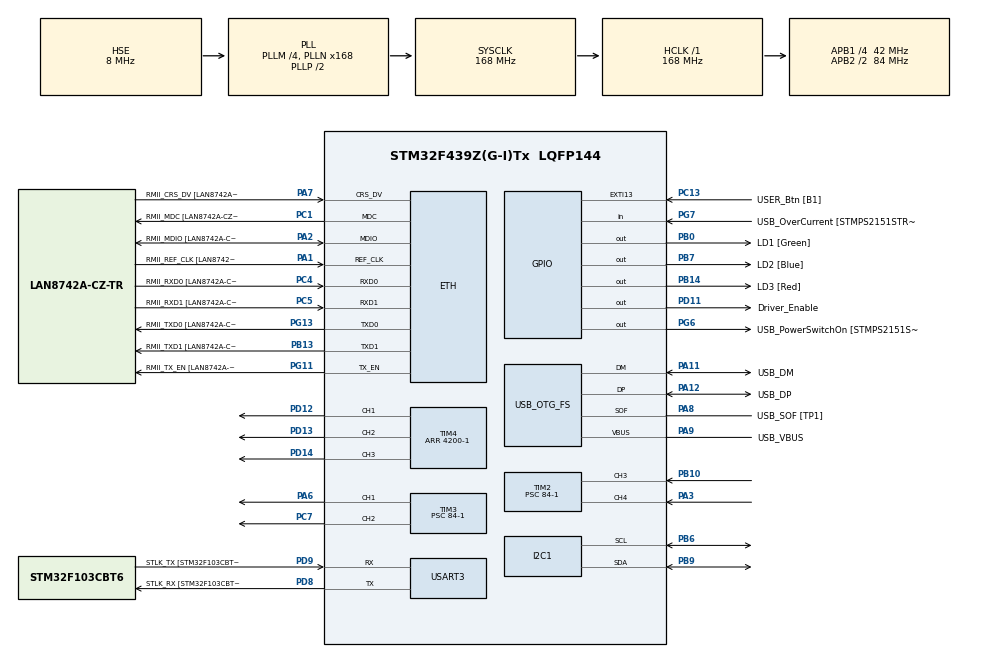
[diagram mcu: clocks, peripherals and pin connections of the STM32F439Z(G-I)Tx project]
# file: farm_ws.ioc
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ETH.MediaInterface=HAL_ETH_RMII_MODE
ETH.PHY_Name=LAN8742A_PHY_ADDRESS
ETH.PHY_Value=0
ETH.PhyAddress=0
Mcu.Family=STM32F4
Mcu.Name=STM32F439Z(G-I)Tx
Mcu.Package=LQFP144
NVIC.PriorityGroup=NVIC_PRIORITYGROUP_4
NVIC.USART3_IRQn=true\:0\:0\:false\:false\:true\:true\:true\:true
PA1.GPIO_Label=RMII_REF_CLK [LAN8742A-CZ-TR_REFCLK0]
PA1.Mode=RMII
PA1.Signal=ETH_REF_CLK
PA10.GPIO_Label=USB_ID
PA10.Signal=USB_OTG_FS_ID
PA11.GPIO_Label=USB_DM
PA11.Mode=Device_Only
PA11.Signal=USB_OTG_FS_DM
PA12.GPIO_Label=USB_DP
PA12.Mode=Device_Only
PA12.Signal=USB_OTG_FS_DP
PA13.Mode=Serial_Wire
PA13.Signal=SYS_JTMS-SWDIO
PA14.Mode=Serial_Wire
PA14.Signal=SYS_JTCK-SWCLK
PA2.GPIO_Label=RMII_MDIO [LAN8742A-CZ-TR_MDIO]
PA2.Mode=RMII
PA2.Signal=ETH_MDIO
PA3.Signal=S_TIM2_CH4
PA6.Signal=S_TIM3_CH1
PA7.GPIO_Label=RMII_CRS_DV [LAN8742A-CZ-TR_CRS_DV]
PA7.Mode=RMII
PA7.Signal=ETH_CRS_DV
PA8.GPIO_Label=USB_SOF [TP1]
PA8.Mode=Activate_SOF_FS
PA8.Signal=USB_OTG_FS_SOF
PA9.GPIO_Label=USB_VBUS
PA9.Mode=Activate_VBUS
PA9.Signal=USB_OTG_FS_VBUS
PB0.GPIO_Label=LD1 [Green]
PB0.Signal=GPIO_Output
PB10.Signal=S_TIM2_CH3
PB13.GPIO_Label=RMII_TXD1 [LAN8742A-CZ-TR_TXD1]
PB13.Mode=RMII
PB13.Signal=ETH_TXD1
PB14.GPIO_Label=LD3 [Red]
PB14.Signal=GPIO_Output
PB6.Mode=I2C
PB6.Signal=I2C1_SCL
PB7.GPIO_Label=LD2 [Blue]
PB7.Signal=GPIO_Output
PB9.Mode=I2C
PB9.Signal=I2C1_SDA
PC1.GPIO_Label=RMII_MDC [LAN8742A-CZ-TR_MDC]
PC1.Mode=RMII
PC1.Signal=ETH_MDC
PC13.GPIO_Label=USER_Btn [B1]
PC13.Signal=GPXTI13
PC14/OSC32_IN.Mode=LSE-External-Oscillator
PC14/OSC32_IN.Signal=RCC_OSC32_IN
PC15/OSC32_OUT.Mode=LSE-External-Oscillator
PC15/OSC32_OUT.Signal=RCC_OSC32_OUT
PC4.GPIO_Label=RMII_RXD0 [LAN8742A-CZ-TR_RXD0]
PC4.Mode=RMII
PC4.Signal=ETH_RXD0
PC5.GPIO_Label=RMII_RXD1 [LAN8742A-CZ-TR_RXD1]
PC5.Mode=RMII
PC5.Signal=ETH_RXD1
PC7.Signal=S_TIM3_CH2
PD11.GPIO_Label=Driver_Enable
PD11.Signal=GPIO_Output
PD12.Signal=S_TIM4_CH1
PD13.Signal=S_TIM4_CH2
PD14.Signal=S_TIM4_CH3
PD8.GPIO_Label=STLK_RX [STM32F103CBT6_PA3]
PD8.Mode=Asynchronous
PD8.Signal=USART3_TX
PD9.GPIO_Label=STLK_TX [STM32F103CBT6_PA2]
PD9.Mode=Asynchronous
PD9.Signal=USART3_RX
PG11.GPIO_Label=RMII_TX_EN [LAN8742A-CZ-TR_TXEN]
PG11.Mode=RMII
PG11.Signal=ETH_TX_EN
PG13.GPIO_Label=RMII_TXD0 [LAN8742A-CZ-TR_TXD0]
PG13.Mode=RMII
PG13.Signal=ETH_TXD0
PG6.GPIO_Label=USB_PowerSwitchOn [STMPS2151STR_EN]
PG6.Signal=GPIO_Output
PG7.GPIO_Label=USB_OverCurrent [STMPS2151STR_FAULT]
PG7.Signal=GPIO_Input
PH0/OSC_IN.GPIO_Label=MCO [STM32F103CBT6_PA8]
PH0/OSC_IN.Mode=HSE-External-Clock-Source
PH0/OSC_IN.Signal=RCC_OSC_IN
PH1/OSC_OUT.Mode=HSE-External-Clock-Source
PH1/OSC_OUT.Signal=RCC_OSC_OUT
ProjectManager.HeapSize=0x200
ProjectManager.StackSize=0x400
ProjectManager.TargetToolchain=STM32CubeIDE
RCC.48MHZClocksFreq_Value=48000000
RCC.AHBFreq_Value=168000000
RCC.APB1CLKDivider=RCC_HCLK_DIV4
RCC.APB1Freq_Value=42000000
RCC.APB1TimFreq_Value=84000000
RCC.APB2CLKDivider=RCC_HCLK_DIV2
RCC.APB2Freq_Value=84000000
RCC.APB2TimCLKDivider=2
RCC.APB2TimFreq_Value=168000000
RCC.CortexFreq_Value=168000000
RCC.HCLKFreq_Value=168000000
RCC.HSE_VALUE=8000000
RCC.HSI_VALUE=16000000
RCC.PLLM=4
RCC.PLLMUL=RCC_PLL_MUL9
RCC.PLLN=168
RCC.PLLQ=7
RCC.PRESCALERUSB=RCC_USBCLKSOURCE_PLL_DIV1_5
RCC.SYSCLKFreq_VALUE=168000000
RCC.SYSCLKSource=RCC_SYSCLKSOURCE_PLLCLK
RCC.SYSCLKSourceVirtual=RCC_SYSCLKSOURCE_PLLCLK
RCC.USBFreq_Value=48000000
RCC.VCOOutputFreq_Value=336000000
SH.S_TIM2_CH3.0=TIM2_CH3,Input_Capture3_from_TI3
SH.S_TIM2_CH4.0=TIM2_CH4,Input_Capture4_from_TI4
SH.S_TIM3_CH1.0=TIM3_CH1,PWM Generation1 CH1
SH.S_TIM3_CH2.0=TIM3_CH2,PWM Generation2 CH2
SH.S_TIM4_CH1.0=TIM4_CH1,PWM Generation1 CH1
SH.S_TIM4_CH2.0=TIM4_CH2,PWM Generation2 CH2
SH.S_TIM4_CH3.0=TIM4_CH3,PWM Generation3 CH3
TIM2.Channel-Input_Capture3_from_TI3=TIM_CHANNEL_3
TIM2.Channel-Input_Capture4_from_TI4=TIM_CHANNEL_4
TIM2.Prescaler=84-1
TIM3.Channel-PWM\ Generation1\ CH1=TIM_CHANNEL_1
TIM3.Channel-PWM\ Generation2\ CH2=TIM_CHANNEL_2
TIM3.OCMode_PWM-PWM\ Generation1\ CH1=TIM_OCMODE_PWM2
TIM3.OCMode_PWM-PWM\ Generation2\ CH2=TIM_OCMODE_PWM2
TIM3.Period=20000-1
TIM3.Prescaler=84-1
TIM3.Pulse-PWM\ Generation1\ CH1=1500
TIM3.Pulse-PWM\ Generation2\ CH2=1500
TIM4.Channel-PWM\ Generation1\ CH1=TIM_CHANNEL_1
TIM4.Channel-PWM\ Generation2\ CH2=TIM_CHANNEL_2
TIM4.Channel-PWM\ Generation3\ CH3=TIM_CHANNEL_3
TIM4.Period=4200-1
USART3.VirtualMode=VM_ASYNC
USB_OTG_FS.VirtualMode=Device_Only
VP_TIM2_VS_ClockSourceINT.Mode=Internal
VP_TIM3_VS_ClockSourceINT.Mode=Internal
VP_TIM4_VS_ClockSourceINT.Mode=Internal
board=NUCLEO-F439ZI

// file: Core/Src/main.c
/* USER CODE BEGIN Header */
// *****************************************************************************
// @file           : main.c
// @brief          : Main program body
// *****************************************************************************
// @attention
//
// Copyright (c) 2026 STMicroelectronics.
// All rights reserved.
//
// This software is licensed under terms that can be found in the LICENSE file
// in the root directory of this software component.
// If no LICENSE file comes with this software, it is provided AS-IS.
//
// *****************************************************************************
/* USER CODE END Header */
#include "main.h"
#include "string.h"
#include <stdio.h>

/* USER CODE BEGIN Includes */
#include "track.h"
#include "uart/uart_receiver.h"
#include "uart/uart_sender.h"
#if GIMBAL_ENABLED
#include "camera_motor/gimbal_track.h"
#endif

/* USER CODE END Includes */

ETH_TxPacketConfig TxConfig;
ETH_DMADescTypeDef  DMARxDscrTab[ETH_RX_DESC_CNT]; /* Ethernet Rx DMA Descriptors */
ETH_DMADescTypeDef  DMATxDscrTab[ETH_TX_DESC_CNT]; /* Ethernet Tx DMA Descriptors */

ETH_HandleTypeDef heth;

I2C_HandleTypeDef hi2c1;

TIM_HandleTypeDef htim2;
TIM_HandleTypeDef htim3;
TIM_HandleTypeDef htim4;

UART_HandleTypeDef huart3;

PCD_HandleTypeDef hpcd_USB_OTG_FS;

void SystemClock_Config(void);
static void MX_GPIO_Init(void);
static void MX_ETH_Init(void);
static void MX_USART3_UART_Init(void);
static void MX_USB_OTG_FS_PCD_Init(void);
static void MX_I2C1_Init(void);
static void MX_TIM2_Init(void);
static void MX_TIM3_Init(void);
static void MX_TIM4_Init(void);

int main(void)
{

  /* MCU Configuration--------------------------------------------------------*/

  /* Reset of all peripherals, Initializes the Flash interface and the Systick. */
  HAL_Init();

  /* Configure the system clock */
  SystemClock_Config();

  /* Initialize all configured peripherals */
  MX_GPIO_Init();
  MX_ETH_Init();
  MX_USART3_UART_Init();
  MX_USB_OTG_FS_PCD_Init();
  MX_I2C1_Init();
  MX_TIM2_Init();
  MX_TIM3_Init();
  MX_TIM4_Init();
  /* USER CODE BEGIN 2 */
  UART_Sender_Init(&huart3);
  Track_Init();
  // 先開啟 UART 接收中斷，對齊期間收到的資料可進入接收緩衝區。
  if (UART_Receiver_Start(&huart3) != HAL_OK)
  {
#if GIMBAL_ENABLED
    GimbalTrack_Stop();
#endif
    Error_Handler();
  }
#if GIMBAL_ENABLED
  GimbalTrack_Init(&hi2c1, &htim4);
  char gimbal_status[96];
  snprintf(gimbal_status, sizeof(gimbal_status),
           "{\"gimbal_status\":\"%s\"}\r\n",
           GimbalTrack_GetStatus());
  UART_Sender_Send(gimbal_status);
#endif
  uint32_t last_track_ms = HAL_GetTick();

  /* USER CODE END 2 */

  /* Infinite loop */
  while (1)
  {

    /* USER CODE BEGIN 3 */
    UART_Receiver_Process();

    RobotCommand command;
    if (UART_Receiver_TakeCommand(&command))
    {
      if (command.type == COMMAND_PERSON_POSITION)
      {
        Track_SetPosition(command.person.x, command.person.y, command.person.z);
#if GIMBAL_ENABLED
        // 只在收到新人物座標時更新追蹤目標，避免舊座標覆蓋手動指令。
        GimbalTrack_SetPerson(Track_GetPosition());
#endif
      }
#if GIMBAL_ENABLED
      else if (command.type == COMMAND_GIMBAL_RELATIVE ||
               command.type == COMMAND_GIMBAL_ZERO ||
               command.type == COMMAND_GIMBAL_YAW_QUERY)
      {
        // 雲台純文字指令交給雲台模組處理，不更新車體目標。
        GimbalTrack_HandleCommand(&command);
      }
#endif
      else
      {
        Track_Clear();
#if GIMBAL_ENABLED
        if (command.type == COMMAND_STOP)
        {
          GimbalTrack_Stop();
        }
#endif
      }
    }

    uint32_t now = HAL_GetTick();
    uint32_t elapsed = now - last_track_ms;
    if (elapsed >= 20U)
    {
      last_track_ms = now;
      Track_Update(elapsed / 1000.0f);

#if GIMBAL_ENABLED
      TrackPosition person = Track_GetPosition();
      if (!person.valid)
        GimbalTrack_SetPerson(person);
#endif

      TrackCommand velocity = Track_GetCommand();
      char reply[160];
      if (Protocol_EncodeCmdVel(reply, sizeof(reply), velocity.linear_vel,
                                velocity.angular_vel) > 0)
      {
        UART_Sender_Send(reply);
      }
    }

#if GIMBAL_ENABLED
    GimbalTrack_Update();
#endif
  }
  /* USER CODE END 3 */
}

void SystemClock_Config(void)
{
  RCC_OscInitTypeDef RCC_OscInitStruct = {0};
  RCC_ClkInitTypeDef RCC_ClkInitStruct = {0};

  /** Configure the main internal regulator output voltage
  */
  __HAL_RCC_PWR_CLK_ENABLE();
  __HAL_PWR_VOLTAGESCALING_CONFIG(PWR_REGULATOR_VOLTAGE_SCALE1);

  /** Initializes the RCC Oscillators according to the specified parameters
  * in the RCC_OscInitTypeDef structure.
  */
  RCC_OscInitStruct.OscillatorType = RCC_OSCILLATORTYPE_HSE;
  RCC_OscInitStruct.HSEState = RCC_HSE_BYPASS;
  RCC_OscInitStruct.PLL.PLLState = RCC_PLL_ON;
  RCC_OscInitStruct.PLL.PLLSource = RCC_PLLSOURCE_HSE;
  RCC_OscInitStruct.PLL.PLLM = 4;
  RCC_OscInitStruct.PLL.PLLN = 168;
  RCC_OscInitStruct.PLL.PLLP = RCC_PLLP_DIV2;
  RCC_OscInitStruct.PLL.PLLQ = 7;
  if (HAL_RCC_OscConfig(&RCC_OscInitStruct) != HAL_OK)
  {
    Error_Handler();
  }

  /** Initializes the CPU, AHB and APB buses clocks
  */
  RCC_ClkInitStruct.ClockType = RCC_CLOCKTYPE_HCLK|RCC_CLOCKTYPE_SYSCLK
                              |RCC_CLOCKTYPE_PCLK1|RCC_CLOCKTYPE_PCLK2;
  RCC_ClkInitStruct.SYSCLKSource = RCC_SYSCLKSOURCE_PLLCLK;
  RCC_ClkInitStruct.AHBCLKDivider = RCC_SYSCLK_DIV1;
  RCC_ClkInitStruct.APB1CLKDivider = RCC_HCLK_DIV4;
  RCC_ClkInitStruct.APB2CLKDivider = RCC_HCLK_DIV2;

  if (HAL_RCC_ClockConfig(&RCC_ClkInitStruct, FLASH_LATENCY_5) != HAL_OK)
  {
    Error_Handler();
  }
}

static void MX_ETH_Init(void)
{

   static uint8_t MACAddr[6];

  heth.Instance = ETH;
  MACAddr[0] = 0x00;
  MACAddr[1] = 0x80;
  MACAddr[2] = 0xE1;
  MACAddr[3] = 0x00;
  MACAddr[4] = 0x00;
  MACAddr[5] = 0x00;
  heth.Init.MACAddr = &MACAddr[0];
  heth.Init.MediaInterface = HAL_ETH_RMII_MODE;
  heth.Init.TxDesc = DMATxDscrTab;
  heth.Init.RxDesc = DMARxDscrTab;
  heth.Init.RxBuffLen = 1524;

  if (HAL_ETH_Init(&heth) != HAL_OK)
  {
    Error_Handler();
  }

  memset(&TxConfig, 0 , sizeof(ETH_TxPacketConfig));
  TxConfig.Attributes = ETH_TX_PACKETS_FEATURES_CSUM | ETH_TX_PACKETS_FEATURES_CRCPAD;
  TxConfig.ChecksumCtrl = ETH_CHECKSUM_IPHDR_PAYLOAD_INSERT_PHDR_CALC;
  TxConfig.CRCPadCtrl = ETH_CRC_PAD_INSERT;

}

static void MX_I2C1_Init(void)
{

  hi2c1.Instance = I2C1;
  hi2c1.Init.ClockSpeed = 100000;
  hi2c1.Init.DutyCycle = I2C_DUTYCYCLE_2;
  hi2c1.Init.OwnAddress1 = 0;
  hi2c1.Init.AddressingMode = I2C_ADDRESSINGMODE_7BIT;
  hi2c1.Init.DualAddressMode = I2C_DUALADDRESS_DISABLE;
  hi2c1.Init.OwnAddress2 = 0;
  hi2c1.Init.GeneralCallMode = I2C_GENERALCALL_DISABLE;
  hi2c1.Init.NoStretchMode = I2C_NOSTRETCH_DISABLE;
  if (HAL_I2C_Init(&hi2c1) != HAL_OK)
  {
    Error_Handler();
  }

  /** Configure Analogue filter
  */
  if (HAL_I2CEx_ConfigAnalogFilter(&hi2c1, I2C_ANALOGFILTER_ENABLE) != HAL_OK)
  {
    Error_Handler();
  }

  /** Configure Digital filter
  */
  if (HAL_I2CEx_ConfigDigitalFilter(&hi2c1, 0) != HAL_OK)
  {
    Error_Handler();
  }

}

static void MX_TIM2_Init(void)
{

  TIM_ClockConfigTypeDef sClockSourceConfig = {0};
  TIM_MasterConfigTypeDef sMasterConfig = {0};
  TIM_IC_InitTypeDef sConfigIC = {0};

  htim2.Instance = TIM2;
  htim2.Init.Prescaler = 84-1;
  htim2.Init.CounterMode = TIM_COUNTERMODE_UP;
  htim2.Init.Period = 4294967295;
  htim2.Init.ClockDivision = TIM_CLOCKDIVISION_DIV1;
  htim2.Init.AutoReloadPreload = TIM_AUTORELOAD_PRELOAD_DISABLE;
  if (HAL_TIM_Base_Init(&htim2) != HAL_OK)
  {
    Error_Handler();
  }
  sClockSourceConfig.ClockSource = TIM_CLOCKSOURCE_INTERNAL;
  if (HAL_TIM_ConfigClockSource(&htim2, &sClockSourceConfig) != HAL_OK)
  {
    Error_Handler();
  }
  if (HAL_TIM_IC_Init(&htim2) != HAL_OK)
  {
    Error_Handler();
  }
  sMasterConfig.MasterOutputTrigger = TIM_TRGO_RESET;
  sMasterConfig.MasterSlaveMode = TIM_MASTERSLAVEMODE_DISABLE;
  if (HAL_TIMEx_MasterConfigSynchronization(&htim2, &sMasterConfig) != HAL_OK)
  {
    Error_Handler();
  }
  sConfigIC.ICPolarity = TIM_INPUTCHANNELPOLARITY_RISING;
  sConfigIC.ICSelection = TIM_ICSELECTION_DIRECTTI;
  sConfigIC.ICPrescaler = TIM_ICPSC_DIV1;
  sConfigIC.ICFilter = 0;
  if (HAL_TIM_IC_ConfigChannel(&htim2, &sConfigIC, TIM_CHANNEL_3) != HAL_OK)
  {
    Error_Handler();
  }
  if (HAL_TIM_IC_ConfigChannel(&htim2, &sConfigIC, TIM_CHANNEL_4) != HAL_OK)
  {
    Error_Handler();
  }

}

static void MX_TIM3_Init(void)
{

  TIM_ClockConfigTypeDef sClockSourceConfig = {0};
  TIM_MasterConfigTypeDef sMasterConfig = {0};
  TIM_OC_InitTypeDef sConfigOC = {0};

  htim3.Instance = TIM3;
  htim3.Init.Prescaler = 84-1;
  htim3.Init.CounterMode = TIM_COUNTERMODE_UP;
  htim3.Init.Period = 20000-1;
  htim3.Init.ClockDivision = TIM_CLOCKDIVISION_DIV1;
  htim3.Init.AutoReloadPreload = TIM_AUTORELOAD_PRELOAD_DISABLE;
  if (HAL_TIM_Base_Init(&htim3) != HAL_OK)
  {
    Error_Handler();
  }
  sClockSourceConfig.ClockSource = TIM_CLOCKSOURCE_INTERNAL;
  if (HAL_TIM_ConfigClockSource(&htim3, &sClockSourceConfig) != HAL_OK)
  {
    Error_Handler();
  }
  if (HAL_TIM_PWM_Init(&htim3) != HAL_OK)
  {
    Error_Handler();
  }
  sMasterConfig.MasterOutputTrigger = TIM_TRGO_RESET;
  sMasterConfig.MasterSlaveMode = TIM_MASTERSLAVEMODE_DISABLE;
  if (HAL_TIMEx_MasterConfigSynchronization(&htim3, &sMasterConfig) != HAL_OK)
  {
    Error_Handler();
  }
  sConfigOC.OCMode = TIM_OCMODE_PWM2;
  sConfigOC.Pulse = 1500;
  sConfigOC.OCPolarity = TIM_OCPOLARITY_HIGH;
  sConfigOC.OCFastMode = TIM_OCFAST_DISABLE;
  if (HAL_TIM_PWM_ConfigChannel(&htim3, &sConfigOC, TIM_CHANNEL_1) != HAL_OK)
  {
    Error_Handler();
  }
  if (HAL_TIM_PWM_ConfigChannel(&htim3, &sConfigOC, TIM_CHANNEL_2) != HAL_OK)
  {
    Error_Handler();
  }
  HAL_TIM_MspPostInit(&htim3);

}

static void MX_TIM4_Init(void)
{

  TIM_ClockConfigTypeDef sClockSourceConfig = {0};
  TIM_MasterConfigTypeDef sMasterConfig = {0};
  TIM_OC_InitTypeDef sConfigOC = {0};

  htim4.Instance = TIM4;
  htim4.Init.Prescaler = 0;
  htim4.Init.CounterMode = TIM_COUNTERMODE_UP;
  htim4.Init.Period = 4200-1;
  htim4.Init.ClockDivision = TIM_CLOCKDIVISION_DIV1;
  htim4.Init.AutoReloadPreload = TIM_AUTORELOAD_PRELOAD_DISABLE;
  if (HAL_TIM_Base_Init(&htim4) != HAL_OK)
  {
    Error_Handler();
  }
  sClockSourceConfig.ClockSource = TIM_CLOCKSOURCE_INTERNAL;
  if (HAL_TIM_ConfigClockSource(&htim4, &sClockSourceConfig) != HAL_OK)
  {
    Error_Handler();
  }
  if (HAL_TIM_PWM_Init(&htim4) != HAL_OK)
  {
    Error_Handler();
  }
  sMasterConfig.MasterOutputTrigger = TIM_TRGO_RESET;
  sMasterConfig.MasterSlaveMode = TIM_MASTERSLAVEMODE_DISABLE;
  if (HAL_TIMEx_MasterConfigSynchronization(&htim4, &sMasterConfig) != HAL_OK)
  {
    Error_Handler();
  }
  sConfigOC.OCMode = TIM_OCMODE_PWM1;
  sConfigOC.Pulse = 0;
  sConfigOC.OCPolarity = TIM_OCPOLARITY_HIGH;
  sConfigOC.OCFastMode = TIM_OCFAST_DISABLE;
  if (HAL_TIM_PWM_ConfigChannel(&htim4, &sConfigOC, TIM_CHANNEL_1) != HAL_OK)
  {
    Error_Handler();
  }
  if (HAL_TIM_PWM_ConfigChannel(&htim4, &sConfigOC, TIM_CHANNEL_2) != HAL_OK)
  {
    Error_Handler();
  }
  if (HAL_TIM_PWM_ConfigChannel(&htim4, &sConfigOC, TIM_CHANNEL_3) != HAL_OK)
  {
    Error_Handler();
  }
  HAL_TIM_MspPostInit(&htim4);

}

static void MX_USART3_UART_Init(void)
{

  huart3.Instance = USART3;
  huart3.Init.BaudRate = 115200;
  huart3.Init.WordLength = UART_WORDLENGTH_8B;
  huart3.Init.StopBits = UART_STOPBITS_1;
  huart3.Init.Parity = UART_PARITY_NONE;
  huart3.Init.Mode = UART_MODE_TX_RX;
  huart3.Init.HwFlowCtl = UART_HWCONTROL_NONE;
  huart3.Init.OverSampling = UART_OVERSAMPLING_16;
  if (HAL_UART_Init(&huart3) != HAL_OK)
  {
    Error_Handler();
  }

}

static void MX_USB_OTG_FS_PCD_Init(void)
{

  hpcd_USB_OTG_FS.Instance = USB_OTG_FS;
  hpcd_USB_OTG_FS.Init.dev_endpoints = 4;
  hpcd_USB_OTG_FS.Init.speed = PCD_SPEED_FULL;
  hpcd_USB_OTG_FS.Init.dma_enable = DISABLE;
  hpcd_USB_OTG_FS.Init.phy_itface = PCD_PHY_EMBEDDED;
  hpcd_USB_OTG_FS.Init.Sof_enable = ENABLE;
  hpcd_USB_OTG_FS.Init.low_power_enable = DISABLE;
  hpcd_USB_OTG_FS.Init.lpm_enable = DISABLE;
  hpcd_USB_OTG_FS.Init.vbus_sensing_enable = ENABLE;
  hpcd_USB_OTG_FS.Init.use_dedicated_ep1 = DISABLE;
  if (HAL_PCD_Init(&hpcd_USB_OTG_FS) != HAL_OK)
  {
    Error_Handler();
  }

}

static void MX_GPIO_Init(void)
{
  GPIO_InitTypeDef GPIO_InitStruct = {0};

  /* GPIO Ports Clock Enable */
  __HAL_RCC_GPIOC_CLK_ENABLE();
  __HAL_RCC_GPIOH_CLK_ENABLE();
  __HAL_RCC_GPIOA_CLK_ENABLE();
  __HAL_RCC_GPIOB_CLK_ENABLE();
  __HAL_RCC_GPIOD_CLK_ENABLE();
  __HAL_RCC_GPIOG_CLK_ENABLE();

  /*Configure GPIO pin Output Level */
  HAL_GPIO_WritePin(GPIOB, LD1_Pin|LD3_Pin|LD2_Pin, GPIO_PIN_RESET);

  /*Configure GPIO pin Output Level */
  HAL_GPIO_WritePin(Driver_Enable_GPIO_Port, Driver_Enable_Pin, GPIO_PIN_RESET);

  /*Configure GPIO pin Output Level */
  HAL_GPIO_WritePin(USB_PowerSwitchOn_GPIO_Port, USB_PowerSwitchOn_Pin, GPIO_PIN_RESET);

  /*Configure GPIO pin : USER_Btn_Pin */
  GPIO_InitStruct.Pin = USER_Btn_Pin;
  GPIO_InitStruct.Mode = GPIO_MODE_IT_RISING;
  GPIO_InitStruct.Pull = GPIO_NOPULL;
  HAL_GPIO_Init(USER_Btn_GPIO_Port, &GPIO_InitStruct);

  /*Configure GPIO pins : LD1_Pin LD3_Pin LD2_Pin */
  GPIO_InitStruct.Pin = LD1_Pin|LD3_Pin|LD2_Pin;
  GPIO_InitStruct.Mode = GPIO_MODE_OUTPUT_PP;
  GPIO_InitStruct.Pull = GPIO_NOPULL;
  GPIO_InitStruct.Speed = GPIO_SPEED_FREQ_LOW;
  HAL_GPIO_Init(GPIOB, &GPIO_InitStruct);

  /*Configure GPIO pin : Driver_Enable_Pin */
  GPIO_InitStruct.Pin = Driver_Enable_Pin;
  GPIO_InitStruct.Mode = GPIO_MODE_OUTPUT_PP;
  GPIO_InitStruct.Pull = GPIO_NOPULL;
  GPIO_InitStruct.Speed = GPIO_SPEED_FREQ_LOW;
  HAL_GPIO_Init(Driver_Enable_GPIO_Port, &GPIO_InitStruct);

  /*Configure GPIO pin : USB_PowerSwitchOn_Pin */
  GPIO_InitStruct.Pin = USB_PowerSwitchOn_Pin;
  GPIO_InitStruct.Mode = GPIO_MODE_OUTPUT_PP;
  GPIO_InitStruct.Pull = GPIO_NOPULL;
  GPIO_InitStruct.Speed = GPIO_SPEED_FREQ_LOW;
  HAL_GPIO_Init(USB_PowerSwitchOn_GPIO_Port, &GPIO_InitStruct);

  /*Configure GPIO pin : USB_OverCurrent_Pin */
  GPIO_InitStruct.Pin = USB_OverCurrent_Pin;
  GPIO_InitStruct.Mode = GPIO_MODE_INPUT;
  GPIO_InitStruct.Pull = GPIO_NOPULL;
  HAL_GPIO_Init(USB_OverCurrent_GPIO_Port, &GPIO_InitStruct);

}

/* USER CODE BEGIN 4 */
void HAL_UART_RxCpltCallback(UART_HandleTypeDef *huart)
{
  UART_Receiver_RxCallback(huart);
}

void HAL_UART_ErrorCallback(UART_HandleTypeDef *huart)
{
  UART_Receiver_ErrorCallback(huart);
}

/* USER CODE END 4 */

void Error_Handler(void)
{
  /* USER CODE BEGIN Error_Handler_Debug */
  // User can add his own implementation to report the HAL error return state
  __disable_irq();
  while (1)
  {
  }
  /* USER CODE END Error_Handler_Debug */
}

#ifdef  USE_FULL_ASSERT
/**
  * @brief  Reports the name of the source file and the source line number
  *         where the assert_param error has occurred.
  * @param  file: pointer to the source file name
  * @param  line: assert_param error line source number
  * @retval None
  */
void assert_failed(uint8_t *file, uint32_t line)
{
  /* USER CODE BEGIN 6 */
  // User can add his own implementation to report the file name and line number,
  // ex: printf("Wrong parameters value: file %s on line %d\r\n", file, line)
  /* USER CODE END 6 */
}
#endif /* USE_FULL_ASSERT */
